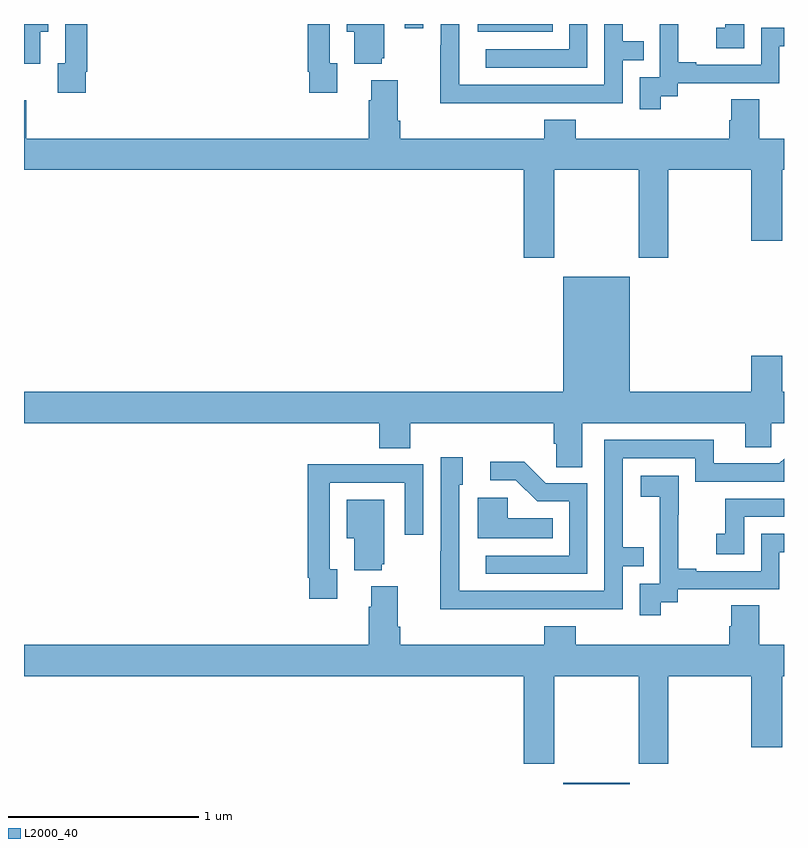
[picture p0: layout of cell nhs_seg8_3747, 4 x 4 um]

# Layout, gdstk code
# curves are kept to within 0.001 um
import gdstk
lib = gdstk.Library(unit=1e-6, precision=1e-09)
def R(c, l, rs):  # rectangles x0, y0, x1, y1
    for r in rs: c.add(gdstk.rectangle(r[:2], r[2:], *l))
def P(c, l, *ps):  # polygons
    for p in ps: c.add(gdstk.Polygon(p, *l))
L2000_40 = (2000, 40)

nhs_seg8_3747 = lib.new_cell('nhs_seg8_3747')
R(nhs_seg8_3747, L2000_40, [(343.838,1147.9,344.188,1147.906), (343.388,1151.858,343.784,1151.9), (343.005,1151.877,343.101,1151.9)])
P(nhs_seg8_3747, L2000_40, [(341.086,1151.858),(341.128,1151.858),(341.128,1151.9),(341,1151.9),(341,1151.69),(341.086,1151.69)],
  [(342.884,1151.721),(342.895,1151.721),(342.895,1151.9),(342.698,1151.9),(342.698,1151.858),(342.737,1151.858),(342.737,1151.69),(342.884,1151.69)],
  [(343.965,1151.9),(343.869,1151.9),(343.869,1151.766),(343.431,1151.766),(343.431,1151.67),(343.965,1151.67)],
  [(344.35,1151.521),(344.442,1151.521),(344.442,1151.589),(344.976,1151.589),(344.976,1151.784),(345,1151.784),(345,1151.88),(344.88,1151.88),(344.88,1151.685),(344.539,1151.685),(344.539,1151.698),(344.444,1151.698),(344.444,1151.9),(344.345,1151.9),(344.345,1151.849),(344.346,1151.849),(344.346,1151.619),(344.241,1151.619),(344.241,1151.451),(344.35,1151.451)],
  [(343.655,1151.484),(344.151,1151.484),(344.151,1151.709),(344.261,1151.709),(344.261,1151.81),(344.151,1151.81),(344.151,1151.9),(344.055,1151.9),(344.055,1151.58),(343.291,1151.58),(343.291,1151.816),(343.29,1151.816),(343.29,1151.9),(343.194,1151.9),(343.194,1151.789),(343.192,1151.789),(343.192,1151.483),(343.655,1151.483)],
  [(344.79,1151.9),(344.692,1151.9),(344.692,1151.881),(344.643,1151.881),(344.643,1151.772),(344.79,1151.772)],
  [(342.649,1151.694),(342.609,1151.694),(342.609,1151.9),(342.493,1151.9),(342.493,1151.65),(342.501,1151.65),(342.501,1151.538),(342.649,1151.538)],
  [(341.326,1151.65),(341.333,1151.65),(341.333,1151.9),(341.217,1151.9),(341.217,1151.694),(341.177,1151.694),(341.177,1151.538),(341.326,1151.538)],
  [(343.791,1151.132),(344.236,1151.132),(344.236,1150.671),(344.391,1150.671),(344.391,1151.132),(344.828,1151.132),(344.828,1150.758),(344.992,1150.758),(344.992,1151.132),(345,1151.132),(345,1151.296),(344.871,1151.296),(344.871,1151.504),(344.723,1151.504),(344.723,1151.394),(344.711,1151.394),(344.711,1151.296),(343.904,1151.296),(343.904,1151.395),(343.739,1151.395),(343.739,1151.296),(342.98,1151.296),(342.98,1151.392),(342.967,1151.392),(342.967,1151.605),(342.827,1151.605),(342.827,1151.498),(342.815,1151.498),(342.815,1151.296),(341.012,1151.296),(341.012,1151.498),(341,1151.498),(341,1151.132),(343.631,1151.132),(343.631,1150.671),(343.791,1150.671)],
  [(343.939,1149.8),(344.795,1149.8),(344.795,1149.673),(344.934,1149.673),(344.934,1149.8),(345,1149.8),(345,1149.964),(344.992,1149.964),(344.992,1150.153),(344.828,1150.153),(344.828,1149.964),(344.188,1149.964),(344.188,1150.57),(343.838,1150.57),(343.838,1149.964),(341,1149.964),(341,1149.8),(342.869,1149.8),(342.869,1149.667),(343.034,1149.667),(343.034,1149.8),(343.787,1149.8),(343.787,1149.691),(343.8,1149.691),(343.8,1149.568),(343.939,1149.568)],
  [(343.655,1148.82),(344.151,1148.82),(344.151,1149.045),(344.261,1149.045),(344.261,1149.146),(344.151,1149.146),(344.151,1149.615),(344.532,1149.615),(344.532,1149.492),(345,1149.492),(345,1149.612),(344.976,1149.588),(344.629,1149.588),(344.629,1149.711),(344.055,1149.711),(344.055,1148.916),(343.291,1148.916),(343.29,1149.474),(343.309,1149.474),(343.309,1149.619),(343.194,1149.619),(343.194,1149.125),(343.192,1149.125),(343.192,1148.819)],
  [(343.965,1149.483),(343.746,1149.483),(343.633,1149.596),(343.455,1149.596),(343.455,1149.498),(343.589,1149.498),(343.7,1149.387),(343.869,1149.387),(343.869,1149.102),(343.431,1149.102),(343.431,1149.006),(343.965,1149.006)],
  [(342.649,1149.03),(342.609,1149.03),(342.609,1149.486),(343.005,1149.486),(343.005,1149.213),(343.101,1149.213),(343.101,1149.582),(342.785,1149.582),(342.785,1149.584),(342.493,1149.584),(342.493,1148.986),(342.501,1148.986),(342.501,1148.874),(342.649,1148.874)],
  [(344.35,1148.857),(344.442,1148.857),(344.442,1148.925),(344.976,1148.925),(344.976,1149.12),(345,1149.12),(345,1149.216),(344.88,1149.216),(344.88,1149.021),(344.539,1149.021),(344.539,1149.034),(344.444,1149.034),(344.444,1149.317),(344.445,1149.317),(344.445,1149.523),(344.247,1149.523),(344.247,1149.413),(344.345,1149.413),(344.345,1149.185),(344.346,1149.185),(344.346,1148.955),(344.241,1148.955),(344.241,1148.787),(344.35,1148.787)],
  [(343.784,1149.298),(343.545,1149.298),(343.545,1149.406),(343.388,1149.406),(343.388,1149.194),(343.784,1149.194)],
  [(344.79,1149.306),(345,1149.306),(345,1149.402),(344.692,1149.402),(344.692,1149.217),(344.643,1149.217),(344.643,1149.108),(344.79,1149.108)],
  [(342.884,1149.057),(342.895,1149.057),(342.895,1149.397),(342.698,1149.397),(342.698,1149.194),(342.737,1149.194),(342.737,1149.026),(342.884,1149.026)],
  [(343.791,1148.468),(344.236,1148.468),(344.236,1148.007),(344.391,1148.007),(344.391,1148.468),(344.828,1148.468),(344.828,1148.094),(344.992,1148.094),(344.992,1148.468),(345,1148.468),(345,1148.632),(344.871,1148.632),(344.871,1148.84),(344.723,1148.84),(344.723,1148.73),(344.711,1148.73),(344.711,1148.632),(343.904,1148.632),(343.904,1148.731),(343.739,1148.731),(343.739,1148.632),(342.98,1148.632),(342.98,1148.728),(342.967,1148.728),(342.967,1148.941),(342.827,1148.941),(342.827,1148.834),(342.815,1148.834),(342.815,1148.632),(341,1148.632),(341,1148.468),(343.631,1148.468),(343.631,1148.007),(343.791,1148.007)])

lib.write_gds('nhs_seg8_3747.gds')
